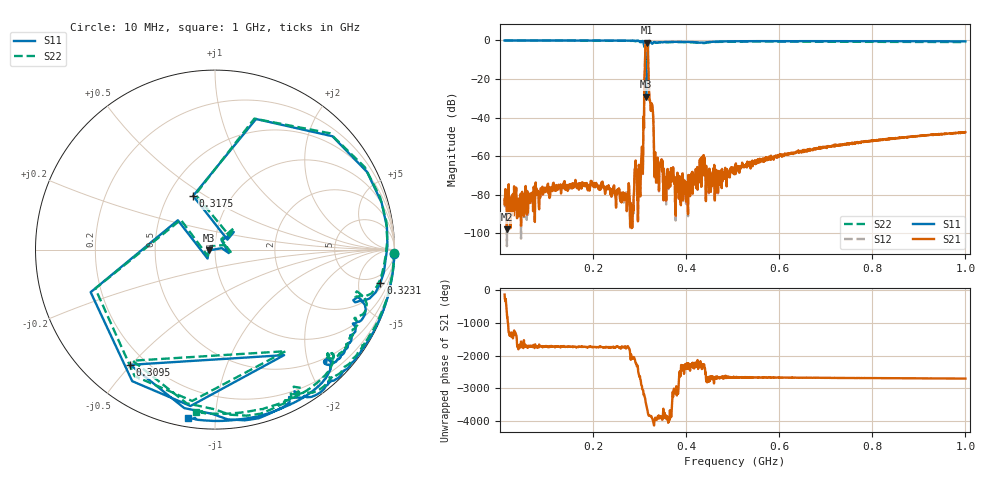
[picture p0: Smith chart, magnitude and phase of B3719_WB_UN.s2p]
! S-Parameter for B3719 in Touchstone format with Magnitude (lin) and Phase
! Normalised impedance: 50 Ohm. Measurement system: 50 Ohm. Ta=25°C
! B3719_WB.S2P not matched. Measurement full 2-port calibrated incl. Port.Ext.
! Start: 10MHz, Stop: 1000MHz, Span 990MHz, 1601 Pts., Step 6.18MHz
! Date: 10/12/2007 - EPCOS COM WT AE PD; AB
# MHZ S MA R 50
! freq  magS11 angS11  magS21 angS21  magS12 angS12  magS22 angS22
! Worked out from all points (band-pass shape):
!   1601 points, 10 MHz to 1 GHz, reference 50 ohm
!   highest |S21| = -1.18 dB at 315.7 MHz (marker M1); lowest = -98.0 dB at 14.95 MHz (marker M2)
!   |S21| within 3 dB of the highest: 312.3 MHz to 317.8 MHz (5.466 MHz wide, 1.74 % of centre)
!   lowest |S11| = -29.2 dB at 313.8 MHz (marker M3), VSWR 1.07, Z = 46.7 - j0.397 ohm
!   |S11| at or under -10 dB: 312.5 MHz to 317.5 MHz (5.05 MHz wide, 1.6 % of centre)
!   |S22| runs from -29.8 to 0.0 dB; largest |S21 - S12| = 0.0033
!   S11 on the Smith chart (normalised r, x): 10 MHz: 5, -90; 309.5 MHz: 0.14, -0.50; 317.5 MHz: 0.66, +0.44; 323.1 MHz: 2.86, -9.13; 1 GHz: 0.04, -0.85
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10  0.9987 -1.3  7.598e-05 -130.6  7.452e-05 -131.2  0.9998 -1.2
14.95  0.9995 -2.0  1.265e-05 5.8  4.639e-06 0.7  0.9996 -1.9
175.2063  0.9958 -23.1  0.0001444 71.8  0.0001527 68.2  0.9913 -22.2
282.8687  0.9896 -44.6  1.365e-05 121.0  2.141e-05 124.9  0.9778 -43.2
302.05  0.9378 -61.4  0.0002078 139.5  0.0002126 136.7  0.9246 -60.3
305.1438  0.9584 -69.2  0.001761 -69.5  0.001764 -69.5  0.9391 -68.2
309.475  0.7969 -126.3  0.005355 57.0  0.005363 58.0  0.7701 -126.5
313.8062  0.03454 -172.9  0.8624 114.6  0.8627 114.5  0.03227 138.8
315.6625  0.06256 53.7  0.8726 -3.1  0.8726 -3.2  0.0686 58.8
317.5188  0.3232 112.1  0.7522 -133.6  0.7514 -133.8  0.3258 109.6
323.0875  0.94 -11.4  0.02328 101.8  0.02317 101.8  0.9382 -9.6
334.8438  0.8833 -27.6  0.000667 17.9  0.0006725 17.2  0.8744 -25.7
340.4125  0.8887 -28.6  0.0005861 106.9  0.0005979 105.9  0.8812 -26.7
370.7312  0.9148 -37.7  0.0003458 -23.9  0.0003444 -24.0  0.9032 -35.6
391.15  0.9223 -41.3  0.0001182 -167.7  0.0001226 -169.8  0.9078 -39.2
426.4187  0.8828 -46.1  0.0002465 158.3  0.000229 158.1  0.8657 -43.8
436.3188  0.8737 -45.6  0.0008539 171.6  0.0008538 171.7  0.8575 -43.0
449.3125  0.9133 -44.9  0.0001336 79.3  0.000131 72.9  0.8975 -42.5
505  0.9541 -52.4  0.0003943 -149.4  0.0003975 -147.0  0.9331 -50.0
670.2062  0.9589 -70.5  0.001506 -160.7  0.001494 -160.4  0.9295 -67.9
835.4125  0.9552 -85.6  0.002734 -175.2  0.002735 -174.8  0.9177 -83.2
1000  0.95 -99.0  0.004194 173.8  0.004159 174.0  0.909 -96.9
